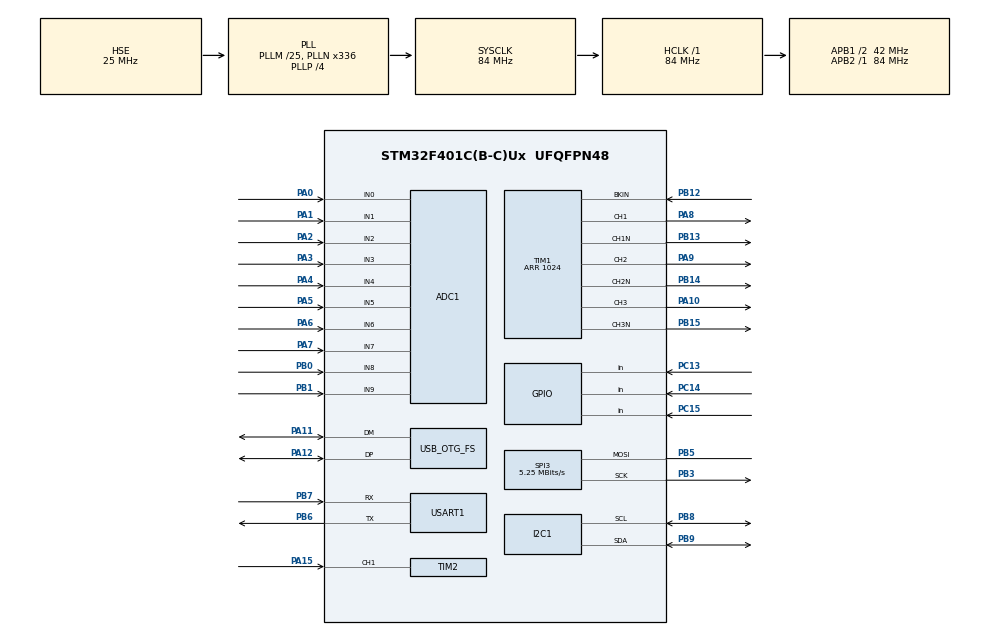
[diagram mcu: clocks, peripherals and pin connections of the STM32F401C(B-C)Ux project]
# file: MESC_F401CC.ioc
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ADC1.Channel-0\#ChannelRegularConversion=ADC_CHANNEL_5
ADC1.Channel-1\#ChannelInjectedConversion=ADC_CHANNEL_2
ADC1.Channel-2\#ChannelInjectedConversion=ADC_CHANNEL_3
ADC1.Channel-3\#ChannelInjectedConversion=ADC_CHANNEL_4
ADC1.Channel-4\#ChannelInjectedConversion=ADC_CHANNEL_1
ADC1.Channel-5\#ChannelRegularConversion=ADC_CHANNEL_6
ADC1.Channel-6\#ChannelRegularConversion=ADC_CHANNEL_8
ADC1.Channel-7\#ChannelRegularConversion=ADC_CHANNEL_0
ADC1.Channel-8\#ChannelRegularConversion=ADC_CHANNEL_7
ADC1.Channel-9\#ChannelRegularConversion=ADC_CHANNEL_9
ADC1.DMAContinuousRequests=ENABLE
ADC1.EOCSelection=ADC_EOC_SEQ_CONV
ADC1.EnableAnalogWatchDog=true
ADC1.ExternalTrigConv=ADC_SOFTWARE_START
ADC1.ExternalTrigInjecConv=ADC_EXTERNALTRIGINJECCONV_T1_TRGO
ADC1.ExternalTrigInjecConvEdge=ADC_EXTERNALTRIGINJECCONVEDGE_RISING
ADC1.HighThreshold=4048
ADC1.ITMode=ENABLE
ADC1.InjNumberOfConversion=4
ADC1.InjectedOffset-1\#ChannelInjectedConversion=0
ADC1.InjectedOffset-2\#ChannelInjectedConversion=0
ADC1.InjectedOffset-3\#ChannelInjectedConversion=0
ADC1.InjectedOffset-4\#ChannelInjectedConversion=0
ADC1.InjectedRank-1\#ChannelInjectedConversion=1
ADC1.InjectedRank-2\#ChannelInjectedConversion=2
ADC1.InjectedRank-3\#ChannelInjectedConversion=3
ADC1.InjectedRank-4\#ChannelInjectedConversion=4
ADC1.LowThreshold=48
ADC1.NbrOfConversion=6
ADC1.NbrOfConversionFlag=1
ADC1.Rank-0\#ChannelRegularConversion=1
ADC1.Rank-5\#ChannelRegularConversion=2
ADC1.Rank-6\#ChannelRegularConversion=3
ADC1.Rank-7\#ChannelRegularConversion=4
ADC1.Rank-8\#ChannelRegularConversion=5
ADC1.Rank-9\#ChannelRegularConversion=6
ADC1.SamplingTime-0\#ChannelRegularConversion=ADC_SAMPLETIME_15CYCLES
ADC1.SamplingTime-1\#ChannelInjectedConversion=ADC_SAMPLETIME_3CYCLES
ADC1.SamplingTime-2\#ChannelInjectedConversion=ADC_SAMPLETIME_3CYCLES
ADC1.SamplingTime-3\#ChannelInjectedConversion=ADC_SAMPLETIME_3CYCLES
ADC1.SamplingTime-4\#ChannelInjectedConversion=ADC_SAMPLETIME_15CYCLES
ADC1.SamplingTime-5\#ChannelRegularConversion=ADC_SAMPLETIME_15CYCLES
ADC1.SamplingTime-6\#ChannelRegularConversion=ADC_SAMPLETIME_15CYCLES
ADC1.SamplingTime-7\#ChannelRegularConversion=ADC_SAMPLETIME_15CYCLES
ADC1.SamplingTime-8\#ChannelRegularConversion=ADC_SAMPLETIME_15CYCLES
ADC1.SamplingTime-9\#ChannelRegularConversion=ADC_SAMPLETIME_15CYCLES
ADC1.ScanConvMode=ENABLE
ADC1.WatchdogMode=ADC_ANALOGWATCHDOG_ALL_INJEC
ADC1.master=1
Dma.ADC1.0.Direction=DMA_PERIPH_TO_MEMORY
Dma.ADC1.0.FIFOMode=DMA_FIFOMODE_DISABLE
Dma.ADC1.0.Instance=DMA2_Stream0
Dma.ADC1.0.MemDataAlignment=DMA_MDATAALIGN_WORD
Dma.ADC1.0.MemInc=DMA_MINC_ENABLE
Dma.ADC1.0.Mode=DMA_CIRCULAR
Dma.ADC1.0.PeriphDataAlignment=DMA_PDATAALIGN_WORD
Dma.ADC1.0.PeriphInc=DMA_PINC_DISABLE
Dma.ADC1.0.Priority=DMA_PRIORITY_LOW
Dma.Request0=ADC1
Dma.Request1=USART1_TX
Dma.USART1_TX.1.Direction=DMA_MEMORY_TO_PERIPH
Dma.USART1_TX.1.FIFOMode=DMA_FIFOMODE_DISABLE
Dma.USART1_TX.1.Instance=DMA2_Stream7
Dma.USART1_TX.1.MemDataAlignment=DMA_MDATAALIGN_BYTE
Dma.USART1_TX.1.MemInc=DMA_MINC_ENABLE
Dma.USART1_TX.1.Mode=DMA_NORMAL
Dma.USART1_TX.1.PeriphDataAlignment=DMA_PDATAALIGN_BYTE
Dma.USART1_TX.1.PeriphInc=DMA_PINC_DISABLE
Dma.USART1_TX.1.Priority=DMA_PRIORITY_LOW
Mcu.Family=STM32F4
Mcu.Name=STM32F401C(B-C)Ux
Mcu.Package=UFQFPN48
NVIC.ADC_IRQn=true\:2\:0\:true\:false\:true\:true\:false\:true
NVIC.OTG_FS_IRQn=true\:4\:0\:true\:false\:true\:false\:true\:true
NVIC.PriorityGroup=NVIC_PRIORITYGROUP_4
NVIC.TIM1_UP_TIM10_IRQn=true\:1\:0\:true\:false\:true\:true\:false\:true
NVIC.TIM2_IRQn=true\:3\:0\:true\:false\:true\:true\:true\:true
NVIC.USART1_IRQn=true\:4\:0\:true\:false\:true\:true\:false\:true
PA0-WKUP.Signal=ADCx_IN0
PA1.Signal=ADCx_IN1
PA10.Signal=S_TIM1_CH3
PA11.Mode=Device_Only
PA11.Signal=USB_OTG_FS_DM
PA12.Mode=Device_Only
PA12.Signal=USB_OTG_FS_DP
PA13.Mode=Serial_Wire
PA13.Signal=SYS_JTMS-SWDIO
PA14.Mode=Serial_Wire
PA14.Signal=SYS_JTCK-SWCLK
PA15.Signal=S_TIM2_CH1_ETR
PA2.Signal=ADCx_IN2
PA3.Signal=ADCx_IN3
PA4.Signal=ADCx_IN4
PA5.Signal=ADCx_IN5
PA6.Signal=ADCx_IN6
PA7.Signal=ADCx_IN7
PA8.Signal=S_TIM1_CH1
PA9.Signal=S_TIM1_CH2
PB0.Signal=ADCx_IN8
PB1.Signal=ADCx_IN9
PB12.Mode=Activate-Break-Input
PB12.Signal=TIM1_BKIN
PB13.Mode=PWM Generation1 CH1 CH1N
PB13.Signal=TIM1_CH1N
PB14.Mode=PWM Generation2 CH2 CH2N
PB14.Signal=TIM1_CH2N
PB15.Mode=PWM Generation3 CH3 CH3N
PB15.Signal=TIM1_CH3N
PB3.Mode=Simplex_Bidirectional_Master
PB3.Signal=SPI3_SCK
PB4.Signal=SPI3_MISO
PB5.Mode=Simplex_Bidirectional_Master
PB5.Signal=SPI3_MOSI
PB6.Mode=Asynchronous
PB6.Signal=USART1_TX
PB7.Mode=Asynchronous
PB7.Signal=USART1_RX
PB8.Mode=I2C
PB8.Signal=I2C1_SCL
PB9.Mode=I2C
PB9.Signal=I2C1_SDA
PC13-ANTI_TAMP.GPIO_PuPd=GPIO_PULLUP
PC13-ANTI_TAMP.Signal=GPIO_Input
PC14-OSC32_IN.GPIO_PuPd=GPIO_PULLUP
PC14-OSC32_IN.Signal=GPIO_Input
PC15-OSC32_OUT.GPIO_PuPd=GPIO_PULLUP
PC15-OSC32_OUT.Signal=GPIO_Input
PH0\ -\ OSC_IN.Mode=HSE-External-Oscillator
PH0\ -\ OSC_IN.Signal=RCC_OSC_IN
PH1\ -\ OSC_OUT.Mode=HSE-External-Oscillator
PH1\ -\ OSC_OUT.Signal=RCC_OSC_OUT
ProjectManager.HeapSize=0x200
ProjectManager.StackSize=0x400
ProjectManager.TargetToolchain=STM32CubeIDE
RCC.48MHZClocksFreq_Value=48000000
RCC.AHBFreq_Value=84000000
RCC.APB1CLKDivider=RCC_HCLK_DIV2
RCC.APB1Freq_Value=42000000
RCC.APB1TimFreq_Value=84000000
RCC.APB2Freq_Value=84000000
RCC.APB2TimFreq_Value=84000000
RCC.CortexFreq_Value=84000000
RCC.HCLKFreq_Value=84000000
RCC.HSE_VALUE=25000000
RCC.HSI_VALUE=16000000
RCC.LSE_VALUE=32768
RCC.PLLM=25
RCC.PLLN=336
RCC.PLLP=RCC_PLLP_DIV4
RCC.PLLQ=7
RCC.SYSCLKFreq_VALUE=84000000
RCC.SYSCLKSource=RCC_SYSCLKSOURCE_PLLCLK
RCC.VCOOutputFreq_Value=336000000
SH.ADCx_IN0.0=ADC1_IN0,IN0
SH.ADCx_IN1.0=ADC1_IN1,IN1
SH.ADCx_IN2.0=ADC1_IN2,IN2
SH.ADCx_IN3.0=ADC1_IN3,IN3
SH.ADCx_IN4.0=ADC1_IN4,IN4
SH.ADCx_IN5.0=ADC1_IN5,IN5
SH.ADCx_IN6.0=ADC1_IN6,IN6
SH.ADCx_IN7.0=ADC1_IN7,IN7
SH.ADCx_IN8.0=ADC1_IN8,IN8
SH.ADCx_IN9.0=ADC1_IN9,IN9
SH.S_TIM1_CH1.0=TIM1_CH1,PWM Generation1 CH1 CH1N
SH.S_TIM1_CH2.0=TIM1_CH2,PWM Generation2 CH2 CH2N
SH.S_TIM1_CH3.0=TIM1_CH3,PWM Generation3 CH3 CH3N
SH.S_TIM2_CH1_ETR.0=TIM2_CH1,Input_Capture1_from_TI1
SH.S_TIM2_CH1_ETR.1=TIM2_CH1,TriggerSource_TI1FP1
SPI3.BaudRatePrescaler=SPI_BAUDRATEPRESCALER_8
SPI3.CLKPhase=SPI_PHASE_2EDGE
SPI3.CalculateBaudRate=5.25 MBits/s
SPI3.DataSize=SPI_DATASIZE_16BIT
SPI3.Direction=SPI_DIRECTION_1LINE
SPI3.Mode=SPI_MODE_MASTER
SPI3.VirtualType=VM_MASTER
TIM1.BreakPolarity=TIM_BREAKPOLARITY_LOW
TIM1.Channel-PWM\ Generation1\ CH1\ CH1N=TIM_CHANNEL_1
TIM1.Channel-PWM\ Generation2\ CH2\ CH2N=TIM_CHANNEL_2
TIM1.Channel-PWM\ Generation3\ CH3\ CH3N=TIM_CHANNEL_3
TIM1.Channel-PWM\ Generation4\ No\ Output=TIM_CHANNEL_4
TIM1.CounterMode=TIM_COUNTERMODE_CENTERALIGNED1
TIM1.DeadTime=80
TIM1.Period=1024
TIM1.Pulse-PWM\ Generation1\ CH1\ CH1N=512
TIM1.Pulse-PWM\ Generation2\ CH2\ CH2N=512
TIM1.Pulse-PWM\ Generation3\ CH3\ CH3N=512
TIM1.Pulse-PWM\ Generation4\ No\ Output=1023
TIM1.TIM_MasterOutputTrigger=TIM_TRGO_OC4REF
TIM2.Channel-Input_Capture1_from_TI1=TIM_CHANNEL_1
TIM2.Channel-Input_Capture2_from_TI1_63=TIM_CHANNEL_2
TIM2.ICPolarity_CH2=TIM_INPUTCHANNELPOLARITY_FALLING
TIM2.Period=50000
TIM2.Prescaler=83
USART1.VirtualMode=VM_ASYNC
USB_DEVICE.CLASS_NAME_FS=CDC
USB_DEVICE.VirtualMode=Cdc
USB_DEVICE.VirtualModeFS=Cdc_FS
USB_OTG_FS.VirtualMode=Device_Only
VP_TIM10_VS_ClockSourceINT.Mode=Enable_Timer
VP_TIM1_VS_no_output4.Mode=PWM Generation4 No Output
VP_TIM2_VS_ControllerModeReset.Mode=Reset Mode
VP_TIM2_VS_indirect_ch1.Mode=Input_Capture2_from_TI1_63
VP_USB_DEVICE_VS_USB_DEVICE_CDC_FS.Mode=CDC_FS
board=custom

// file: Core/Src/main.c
/* USER CODE BEGIN Header */
/**
  ******************************************************************************
  * @file           : main.c
  * @brief          : Main program body
  ******************************************************************************
  * @attention
  *
  * Copyright (c) 2022 STMicroelectronics.
  * All rights reserved.
  *
  * This software is licensed under terms that can be found in the LICENSE file
  * in the root directory of this software component.
  * If no LICENSE file comes with this software, it is provided AS-IS.
  *
  ******************************************************************************
  */
/* USER CODE END Header */
#include "main.h"
#include "usb_device.h"

/* USER CODE BEGIN Includes */
#include "MESCfoc.h"
#include "MESCmotor.h"
#include "MESCtemp.h"

/* USER CODE END Includes */

ADC_HandleTypeDef hadc1;
DMA_HandleTypeDef hdma_adc1;

I2C_HandleTypeDef hi2c1;

SPI_HandleTypeDef hspi3;

TIM_HandleTypeDef htim1;
TIM_HandleTypeDef htim2;
TIM_HandleTypeDef htim10;

UART_HandleTypeDef huart1;
DMA_HandleTypeDef hdma_usart1_tx;

void SystemClock_Config(void);
static void MX_GPIO_Init(void);
static void MX_DMA_Init(void);
static void MX_ADC1_Init(void);
static void MX_TIM1_Init(void);
static void MX_TIM2_Init(void);
static void MX_USART1_UART_Init(void);
static void MX_TIM10_Init(void);
static void MX_I2C1_Init(void);
static void MX_SPI3_Init(void);

int main(void)
{

  /* MCU Configuration--------------------------------------------------------*/

  /* Reset of all peripherals, Initializes the Flash interface and the Systick. */
  HAL_Init();

  /* Configure the system clock */
  SystemClock_Config();

  /* Initialize all configured peripherals */
  MX_GPIO_Init();
  MX_DMA_Init();
  MX_ADC1_Init();
  MX_TIM1_Init();
  MX_TIM2_Init();
  MX_USART1_UART_Init();
  MX_TIM10_Init();
  MX_I2C1_Init();
  MX_USB_DEVICE_Init();
  MX_SPI3_Init();
  /* USER CODE BEGIN 2 */

#ifdef USE_ENCODER
  HAL_SPI_Init(&hspi3);
  GPIO_InitTypeDef GPIO_InitStruct = {0};
  /*Configure GPIO pins : PC6 PC7 PC8 */
    GPIO_InitStruct.Pin = GPIO_PIN_8;
    GPIO_InitStruct.Mode = GPIO_MODE_OUTPUT_PP;
    GPIO_InitStruct.Pull = GPIO_NOPULL;
    HAL_GPIO_Init(GPIOB, &GPIO_InitStruct);
#endif
//  uart_init();

  //Set motor timer
	mtr[0].mtimer = &htim1;
	mtr[0].stimer = &htim2;

//Initialise MESC
	motor_init(&mtr[0]);
	MESCfoc_Init(&mtr[0]);

  /* USER CODE END 2 */

  /* Infinite loop */
  /* USER CODE BEGIN WHILE */
  while (1)
  {
	//SimpleComsProcess(&com1);
	HAL_Delay(0);
    /* USER CODE END WHILE */

  }
}

void SystemClock_Config(void)
{
  RCC_OscInitTypeDef RCC_OscInitStruct = {0};
  RCC_ClkInitTypeDef RCC_ClkInitStruct = {0};

  /** Configure the main internal regulator output voltage
  */
  __HAL_RCC_PWR_CLK_ENABLE();
  __HAL_PWR_VOLTAGESCALING_CONFIG(PWR_REGULATOR_VOLTAGE_SCALE2);

  /** Initializes the RCC Oscillators according to the specified parameters
  * in the RCC_OscInitTypeDef structure.
  */
  RCC_OscInitStruct.OscillatorType = RCC_OSCILLATORTYPE_HSE;
  RCC_OscInitStruct.HSEState = RCC_HSE_ON;
  RCC_OscInitStruct.PLL.PLLState = RCC_PLL_ON;
  RCC_OscInitStruct.PLL.PLLSource = RCC_PLLSOURCE_HSE;
  RCC_OscInitStruct.PLL.PLLM = 25;
  RCC_OscInitStruct.PLL.PLLN = 336;
  RCC_OscInitStruct.PLL.PLLP = RCC_PLLP_DIV4;
  RCC_OscInitStruct.PLL.PLLQ = 7;
  if (HAL_RCC_OscConfig(&RCC_OscInitStruct) != HAL_OK)
  {
    Error_Handler();
  }

  /** Initializes the CPU, AHB and APB buses clocks
  */
  RCC_ClkInitStruct.ClockType = RCC_CLOCKTYPE_HCLK|RCC_CLOCKTYPE_SYSCLK
                              |RCC_CLOCKTYPE_PCLK1|RCC_CLOCKTYPE_PCLK2;
  RCC_ClkInitStruct.SYSCLKSource = RCC_SYSCLKSOURCE_PLLCLK;
  RCC_ClkInitStruct.AHBCLKDivider = RCC_SYSCLK_DIV1;
  RCC_ClkInitStruct.APB1CLKDivider = RCC_HCLK_DIV2;
  RCC_ClkInitStruct.APB2CLKDivider = RCC_HCLK_DIV1;

  if (HAL_RCC_ClockConfig(&RCC_ClkInitStruct, FLASH_LATENCY_2) != HAL_OK)
  {
    Error_Handler();
  }
}

static void MX_ADC1_Init(void)
{

  ADC_AnalogWDGConfTypeDef AnalogWDGConfig = {0};
  ADC_ChannelConfTypeDef sConfig = {0};
  ADC_InjectionConfTypeDef sConfigInjected = {0};

  /** Configure the global features of the ADC (Clock, Resolution, Data Alignment and number of conversion)
  */
  hadc1.Instance = ADC1;
  hadc1.Init.ClockPrescaler = ADC_CLOCK_SYNC_PCLK_DIV4;
  hadc1.Init.Resolution = ADC_RESOLUTION_12B;
  hadc1.Init.ScanConvMode = ENABLE;
  hadc1.Init.ContinuousConvMode = DISABLE;
  hadc1.Init.DiscontinuousConvMode = DISABLE;
  hadc1.Init.ExternalTrigConvEdge = ADC_EXTERNALTRIGCONVEDGE_NONE;
  hadc1.Init.ExternalTrigConv = ADC_SOFTWARE_START;
  hadc1.Init.DataAlign = ADC_DATAALIGN_RIGHT;
  hadc1.Init.NbrOfConversion = 6;
  hadc1.Init.DMAContinuousRequests = ENABLE;
  hadc1.Init.EOCSelection = ADC_EOC_SEQ_CONV;
  if (HAL_ADC_Init(&hadc1) != HAL_OK)
  {
    Error_Handler();
  }

  /** Configure the analog watchdog
  */
  AnalogWDGConfig.WatchdogMode = ADC_ANALOGWATCHDOG_ALL_INJEC;
  AnalogWDGConfig.HighThreshold = 4048;
  AnalogWDGConfig.LowThreshold = 48;
  AnalogWDGConfig.ITMode = ENABLE;
  if (HAL_ADC_AnalogWDGConfig(&hadc1, &AnalogWDGConfig) != HAL_OK)
  {
    Error_Handler();
  }

  /** Configure for the selected ADC regular channel its corresponding rank in the sequencer and its sample time.
  */
  sConfig.Channel = ADC_CHANNEL_5;
  sConfig.Rank = 1;
  sConfig.SamplingTime = ADC_SAMPLETIME_15CYCLES;
  if (HAL_ADC_ConfigChannel(&hadc1, &sConfig) != HAL_OK)
  {
    Error_Handler();
  }

  /** Configure for the selected ADC regular channel its corresponding rank in the sequencer and its sample time.
  */
  sConfig.Channel = ADC_CHANNEL_6;
  sConfig.Rank = 2;
  if (HAL_ADC_ConfigChannel(&hadc1, &sConfig) != HAL_OK)
  {
    Error_Handler();
  }

  /** Configure for the selected ADC regular channel its corresponding rank in the sequencer and its sample time.
  */
  sConfig.Channel = ADC_CHANNEL_8;
  sConfig.Rank = 3;
  if (HAL_ADC_ConfigChannel(&hadc1, &sConfig) != HAL_OK)
  {
    Error_Handler();
  }

  /** Configure for the selected ADC regular channel its corresponding rank in the sequencer and its sample time.
  */
  sConfig.Channel = ADC_CHANNEL_0;
  sConfig.Rank = 4;
  if (HAL_ADC_ConfigChannel(&hadc1, &sConfig) != HAL_OK)
  {
    Error_Handler();
  }

  /** Configure for the selected ADC regular channel its corresponding rank in the sequencer and its sample time.
  */
  sConfig.Channel = ADC_CHANNEL_7;
  sConfig.Rank = 5;
  if (HAL_ADC_ConfigChannel(&hadc1, &sConfig) != HAL_OK)
  {
    Error_Handler();
  }

  /** Configure for the selected ADC regular channel its corresponding rank in the sequencer and its sample time.
  */
  sConfig.Channel = ADC_CHANNEL_9;
  sConfig.Rank = 6;
  if (HAL_ADC_ConfigChannel(&hadc1, &sConfig) != HAL_OK)
  {
    Error_Handler();
  }

  /** Configures for the selected ADC injected channel its corresponding rank in the sequencer and its sample time
  */
  sConfigInjected.InjectedChannel = ADC_CHANNEL_2;
  sConfigInjected.InjectedRank = 1;
  sConfigInjected.InjectedNbrOfConversion = 4;
  sConfigInjected.InjectedSamplingTime = ADC_SAMPLETIME_3CYCLES;
  sConfigInjected.ExternalTrigInjecConvEdge = ADC_EXTERNALTRIGINJECCONVEDGE_RISING;
  sConfigInjected.ExternalTrigInjecConv = ADC_EXTERNALTRIGINJECCONV_T1_TRGO;
  sConfigInjected.AutoInjectedConv = DISABLE;
  sConfigInjected.InjectedDiscontinuousConvMode = DISABLE;
  sConfigInjected.InjectedOffset = 0;
  if (HAL_ADCEx_InjectedConfigChannel(&hadc1, &sConfigInjected) != HAL_OK)
  {
    Error_Handler();
  }

  /** Configures for the selected ADC injected channel its corresponding rank in the sequencer and its sample time
  */
  sConfigInjected.InjectedChannel = ADC_CHANNEL_3;
  sConfigInjected.InjectedRank = 2;
  if (HAL_ADCEx_InjectedConfigChannel(&hadc1, &sConfigInjected) != HAL_OK)
  {
    Error_Handler();
  }

  /** Configures for the selected ADC injected channel its corresponding rank in the sequencer and its sample time
  */
  sConfigInjected.InjectedChannel = ADC_CHANNEL_4;
  sConfigInjected.InjectedRank = 3;
  if (HAL_ADCEx_InjectedConfigChannel(&hadc1, &sConfigInjected) != HAL_OK)
  {
    Error_Handler();
  }

  /** Configures for the selected ADC injected channel its corresponding rank in the sequencer and its sample time
  */
  sConfigInjected.InjectedChannel = ADC_CHANNEL_1;
  sConfigInjected.InjectedRank = 4;
  sConfigInjected.InjectedSamplingTime = ADC_SAMPLETIME_15CYCLES;
  if (HAL_ADCEx_InjectedConfigChannel(&hadc1, &sConfigInjected) != HAL_OK)
  {
    Error_Handler();
  }

}

static void MX_I2C1_Init(void)
{

  hi2c1.Instance = I2C1;
  hi2c1.Init.ClockSpeed = 100000;
  hi2c1.Init.DutyCycle = I2C_DUTYCYCLE_2;
  hi2c1.Init.OwnAddress1 = 0;
  hi2c1.Init.AddressingMode = I2C_ADDRESSINGMODE_7BIT;
  hi2c1.Init.DualAddressMode = I2C_DUALADDRESS_DISABLE;
  hi2c1.Init.OwnAddress2 = 0;
  hi2c1.Init.GeneralCallMode = I2C_GENERALCALL_DISABLE;
  hi2c1.Init.NoStretchMode = I2C_NOSTRETCH_DISABLE;
  if (HAL_I2C_Init(&hi2c1) != HAL_OK)
  {
    Error_Handler();
  }

}

static void MX_SPI3_Init(void)
{

  /* SPI3 parameter configuration*/
  hspi3.Instance = SPI3;
  hspi3.Init.Mode = SPI_MODE_MASTER;
  hspi3.Init.Direction = SPI_DIRECTION_1LINE;
  hspi3.Init.DataSize = SPI_DATASIZE_16BIT;
  hspi3.Init.CLKPolarity = SPI_POLARITY_LOW;
  hspi3.Init.CLKPhase = SPI_PHASE_2EDGE;
  hspi3.Init.NSS = SPI_NSS_SOFT;
  hspi3.Init.BaudRatePrescaler = SPI_BAUDRATEPRESCALER_8;
  hspi3.Init.FirstBit = SPI_FIRSTBIT_MSB;
  hspi3.Init.TIMode = SPI_TIMODE_DISABLE;
  hspi3.Init.CRCCalculation = SPI_CRCCALCULATION_DISABLE;
  hspi3.Init.CRCPolynomial = 10;
  if (HAL_SPI_Init(&hspi3) != HAL_OK)
  {
    Error_Handler();
  }

}

static void MX_TIM1_Init(void)
{

  TIM_MasterConfigTypeDef sMasterConfig = {0};
  TIM_OC_InitTypeDef sConfigOC = {0};
  TIM_BreakDeadTimeConfigTypeDef sBreakDeadTimeConfig = {0};

  htim1.Instance = TIM1;
  htim1.Init.Prescaler = 0;
  htim1.Init.CounterMode = TIM_COUNTERMODE_CENTERALIGNED1;
  htim1.Init.Period = 1024;
  htim1.Init.ClockDivision = TIM_CLOCKDIVISION_DIV1;
  htim1.Init.RepetitionCounter = 0;
  htim1.Init.AutoReloadPreload = TIM_AUTORELOAD_PRELOAD_DISABLE;
  if (HAL_TIM_PWM_Init(&htim1) != HAL_OK)
  {
    Error_Handler();
  }
  sMasterConfig.MasterOutputTrigger = TIM_TRGO_OC4REF;
  sMasterConfig.MasterSlaveMode = TIM_MASTERSLAVEMODE_DISABLE;
  if (HAL_TIMEx_MasterConfigSynchronization(&htim1, &sMasterConfig) != HAL_OK)
  {
    Error_Handler();
  }
  sConfigOC.OCMode = TIM_OCMODE_PWM1;
  sConfigOC.Pulse = 512;
  sConfigOC.OCPolarity = TIM_OCPOLARITY_HIGH;
  sConfigOC.OCNPolarity = TIM_OCNPOLARITY_HIGH;
  sConfigOC.OCFastMode = TIM_OCFAST_DISABLE;
  sConfigOC.OCIdleState = TIM_OCIDLESTATE_RESET;
  sConfigOC.OCNIdleState = TIM_OCNIDLESTATE_RESET;
  if (HAL_TIM_PWM_ConfigChannel(&htim1, &sConfigOC, TIM_CHANNEL_1) != HAL_OK)
  {
    Error_Handler();
  }
  if (HAL_TIM_PWM_ConfigChannel(&htim1, &sConfigOC, TIM_CHANNEL_2) != HAL_OK)
  {
    Error_Handler();
  }
  if (HAL_TIM_PWM_ConfigChannel(&htim1, &sConfigOC, TIM_CHANNEL_3) != HAL_OK)
  {
    Error_Handler();
  }
  sConfigOC.Pulse = 1023;
  if (HAL_TIM_PWM_ConfigChannel(&htim1, &sConfigOC, TIM_CHANNEL_4) != HAL_OK)
  {
    Error_Handler();
  }
  sBreakDeadTimeConfig.OffStateRunMode = TIM_OSSR_DISABLE;
  sBreakDeadTimeConfig.OffStateIDLEMode = TIM_OSSI_DISABLE;
  sBreakDeadTimeConfig.LockLevel = TIM_LOCKLEVEL_OFF;
  sBreakDeadTimeConfig.DeadTime = 80;
  sBreakDeadTimeConfig.BreakState = TIM_BREAK_ENABLE;
  sBreakDeadTimeConfig.BreakPolarity = TIM_BREAKPOLARITY_LOW;
  sBreakDeadTimeConfig.AutomaticOutput = TIM_AUTOMATICOUTPUT_DISABLE;
  if (HAL_TIMEx_ConfigBreakDeadTime(&htim1, &sBreakDeadTimeConfig) != HAL_OK)
  {
    Error_Handler();
  }
  HAL_TIM_MspPostInit(&htim1);

}

static void MX_TIM2_Init(void)
{

  TIM_SlaveConfigTypeDef sSlaveConfig = {0};
  TIM_MasterConfigTypeDef sMasterConfig = {0};
  TIM_IC_InitTypeDef sConfigIC = {0};

  htim2.Instance = TIM2;
  htim2.Init.Prescaler = 83;
  htim2.Init.CounterMode = TIM_COUNTERMODE_UP;
  htim2.Init.Period = 50000;
  htim2.Init.ClockDivision = TIM_CLOCKDIVISION_DIV1;
  htim2.Init.AutoReloadPreload = TIM_AUTORELOAD_PRELOAD_DISABLE;
  if (HAL_TIM_Base_Init(&htim2) != HAL_OK)
  {
    Error_Handler();
  }
  if (HAL_TIM_IC_Init(&htim2) != HAL_OK)
  {
    Error_Handler();
  }
  sSlaveConfig.SlaveMode = TIM_SLAVEMODE_RESET;
  sSlaveConfig.InputTrigger = TIM_TS_TI1FP1;
  sSlaveConfig.TriggerPolarity = TIM_INPUTCHANNELPOLARITY_RISING;
  sSlaveConfig.TriggerFilter = 0;
  if (HAL_TIM_SlaveConfigSynchro(&htim2, &sSlaveConfig) != HAL_OK)
  {
    Error_Handler();
  }
  sMasterConfig.MasterOutputTrigger = TIM_TRGO_RESET;
  sMasterConfig.MasterSlaveMode = TIM_MASTERSLAVEMODE_DISABLE;
  if (HAL_TIMEx_MasterConfigSynchronization(&htim2, &sMasterConfig) != HAL_OK)
  {
    Error_Handler();
  }
  sConfigIC.ICPolarity = TIM_INPUTCHANNELPOLARITY_RISING;
  sConfigIC.ICSelection = TIM_ICSELECTION_DIRECTTI;
  sConfigIC.ICPrescaler = TIM_ICPSC_DIV1;
  sConfigIC.ICFilter = 0;
  if (HAL_TIM_IC_ConfigChannel(&htim2, &sConfigIC, TIM_CHANNEL_1) != HAL_OK)
  {
    Error_Handler();
  }
  sConfigIC.ICPolarity = TIM_INPUTCHANNELPOLARITY_FALLING;
  sConfigIC.ICSelection = TIM_ICSELECTION_INDIRECTTI;
  if (HAL_TIM_IC_ConfigChannel(&htim2, &sConfigIC, TIM_CHANNEL_2) != HAL_OK)
  {
    Error_Handler();
  }

}

static void MX_TIM10_Init(void)
{

  htim10.Instance = TIM10;
  htim10.Init.Prescaler = 0;
  htim10.Init.CounterMode = TIM_COUNTERMODE_UP;
  htim10.Init.Period = 65535;
  htim10.Init.ClockDivision = TIM_CLOCKDIVISION_DIV1;
  htim10.Init.AutoReloadPreload = TIM_AUTORELOAD_PRELOAD_DISABLE;
  if (HAL_TIM_Base_Init(&htim10) != HAL_OK)
  {
    Error_Handler();
  }

}

static void MX_USART1_UART_Init(void)
{

  huart1.Instance = USART1;
  huart1.Init.BaudRate = 115200;
  huart1.Init.WordLength = UART_WORDLENGTH_8B;
  huart1.Init.StopBits = UART_STOPBITS_1;
  huart1.Init.Parity = UART_PARITY_NONE;
  huart1.Init.Mode = UART_MODE_TX_RX;
  huart1.Init.HwFlowCtl = UART_HWCONTROL_NONE;
  huart1.Init.OverSampling = UART_OVERSAMPLING_16;
  if (HAL_UART_Init(&huart1) != HAL_OK)
  {
    Error_Handler();
  }

}

static void MX_DMA_Init(void)
{

  /* DMA controller clock enable */
  __HAL_RCC_DMA2_CLK_ENABLE();

}

static void MX_GPIO_Init(void)
{
  GPIO_InitTypeDef GPIO_InitStruct = {0};

  /* GPIO Ports Clock Enable */
  __HAL_RCC_GPIOC_CLK_ENABLE();
  __HAL_RCC_GPIOH_CLK_ENABLE();
  __HAL_RCC_GPIOA_CLK_ENABLE();
  __HAL_RCC_GPIOB_CLK_ENABLE();

  /*Configure GPIO pins : PC13 PC14 PC15 */
  GPIO_InitStruct.Pin = GPIO_PIN_13|GPIO_PIN_14|GPIO_PIN_15;
  GPIO_InitStruct.Mode = GPIO_MODE_INPUT;
  GPIO_InitStruct.Pull = GPIO_PULLUP;
  HAL_GPIO_Init(GPIOC, &GPIO_InitStruct);

}

void Error_Handler(void)
{
  __disable_irq();
  while (1)
  {
  }
}
